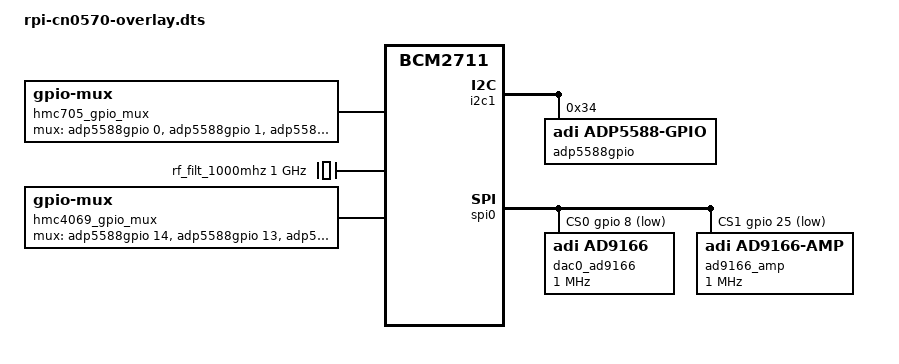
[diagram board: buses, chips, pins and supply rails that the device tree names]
/dts-v1/;
/plugin/;

#include <dt-bindings/gpio/gpio.h>

/ {
	compatible = "brcm,bcm2835", "brcm,bcm2708", "brcm,bcm2709", "brcm,bcm2711";

	fragment@0 {
		target = <&i2c1>;

		__overlay__ {
			#address-cells = <1>;
			#size-cells = <0>;
			status = "okay";

			adp5588gpio: adp5588-gpio@34 {
				compatible = "adi,adp5588-gpio";
				reg = <0x34>;

				gpio-controller;
				#gpio-cells = <2>;

				interrupt-controller;
				#interrupt-cells = <2>;

				gpio_10mhzxoen {
					gpio-hog;
					gpios = <8 0>; // ADP5588 C0
					output-high;
					line-name = "gpio-10mhzxoen";
				};

				gpio_100mhzxoen {
					gpio-hog;
					gpios = <9 0>; // ADP5588 C1
					output-high;
					line-name = "gpio-100mhzxoen";
				};
			};
		};
	};

	fragment@1 {
		target-path = "/";

		__overlay__ {
			rf_main_2ghz: clock@0 {
				compatible = "fixed-clock";
				#clock-cells = <0>;
				clock-frequency = <2000000000>;
				clock-output-names = "rf_main_2ghz";
			};

			hmc705_gpio_mux: mux-controller@0 {
				compatible = "gpio-mux";
				#mux-control-cells = <0>;

				mux-gpios =
						<&adp5588gpio 0 0>, // ADP5588 R0
						<&adp5588gpio 1 0>, // ADP5588 R1
						<&adp5588gpio 2 0>, // ADP5588 R2
						<&adp5588gpio 3 0>, // ADP5588 R3
						<&adp5588gpio 4 0>, // ADP5588 R4
						<&adp5588gpio 5 0>; // ADP5588 R5
				mux-gpio-names =
						"byp",
						"div1",
						"n0",
						"n1",
						"n2",
						"s0";
			};

			hmc705: hmc705@0 {
				#address-cells = <1>;
				#size-cells = <0>;
				#clock-cells = <1>;

				compatible = "adi,hmc705";

				mux-controls = <&hmc705_gpio_mux>;

				clocks = <&rf_main_2ghz>;
				clock-names = "xref";
			};

			rf_div_2ghz: clock@1 {
				compatible = "fixed-clock";
				#clock-cells = <0>;
				clock-frequency = <2000000000>;
				clock-output-names = "rf_div_2ghz";
			};

			rf_filt_1000mhz: clock@2 {
				compatible = "fixed-clock";
				#clock-cells = <0>;
				clock-frequency = <1000000000>;
				clock-output-names = "rf_filt_1000mhz";
			};

			hmc4069_gpio_mux: mux-controller@1 {
				compatible = "gpio-mux";
				#mux-control-cells = <0>;

				mux-gpios =
						<&adp5588gpio 14 0>, // ADP5588 C6
						<&adp5588gpio 13 0>, // ADP5588 C5
						<&adp5588gpio 12 0>, // ADP5588 C4
						<&adp5588gpio 11 0>, // ADP5588 C3
						<&adp5588gpio 10 0>; // ADP5588 C2
				mux-gpio-names =
						"a0",
						"a1",
						"a2",
						"a3",
						"a4";
			};

			hmc4069: hmc4069@0 {
				#address-cells = <1>;
				#size-cells = <0>;
				#clock-cells = <1>;

				compatible = "adi,hmc4069";

				mux-controls = <&hmc4069_gpio_mux>;

				clocks =
						<&rf_div_2ghz>,
						<&rf_filt_1000mhz>;
				clock-names =
						"vco",
						"ref";
			};

			rf_multin_6ghz_amp0_out: clock@3 {
				compatible = "fixed-clock";
				#clock-cells = <0>;
				clock-frequency = <600000000>;
				clock-output-names = "rf_multin_6ghz_amp0_out";
			};
		};
	};

	fragment@2 {
		target = <&spidev0>;
		__overlay__ {
			status = "disabled";
		};
	};

	fragment@3 {
		target = <&spidev1>;
		__overlay__ {
			status = "disabled";
		};
	};

	fragment@4 {
		target = <&spi0>;
		frag1: __overlay__ {
			#address-cells = <1>;
			#size-cells = <0>;

			cs-gpios = <&gpio 8 1>, <&gpio 25 1>;
			status = "okay";

			dac0_ad9166: ad9166@0 {
				compatible = "adi,ad9166";
				reg = <0>;
				spi-max-frequency = <1000000>;
				clocks = <&rf_multin_6ghz_amp0_out>;
				clock-names = "dac_clk";
				spi-cpha;
				spi-cpol;
				adi,standalone-probe;
				adi,dc-test-en;
				dac_clk-clock-scales = <1 10>;
			};

			ad9166_amp: ad9166-amp@1 {
				compatible = "adi,ad9166-amp";
				reg = <1>;
				spi-cpha;
				spi-cpol;
				spi-max-frequency = <1000000>;
				adi,vos-adj-mv = <200>;
				adi,icm-ua = <10000>;
			};
		};
	};
};
